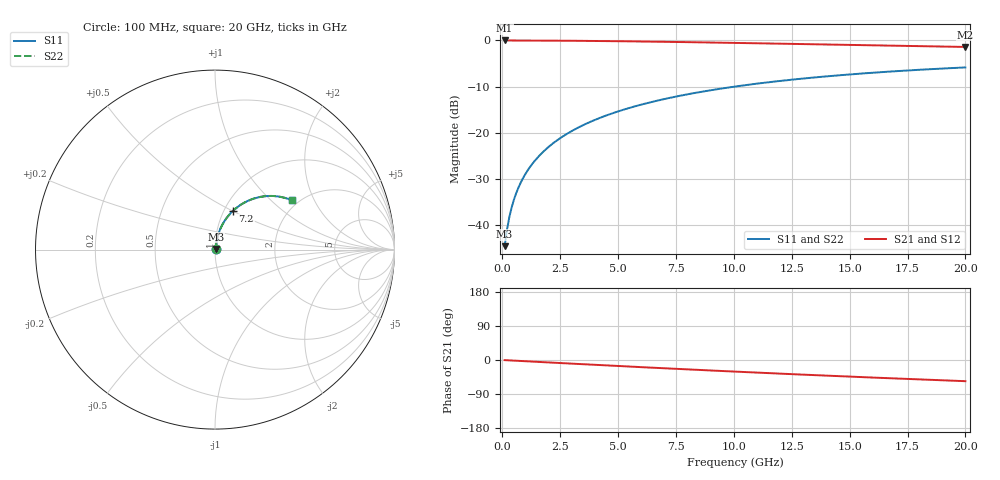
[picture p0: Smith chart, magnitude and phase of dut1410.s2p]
! Touchstone file exported from HFSS 2026.1.0
!  File:  C:/ffzhzh/LocalFiles/Ansys_Project_Files/temp_train_BSMRDL_1410_1783180035_51560.aedt
!  Generated:  11:48:42 PM Jul  4, 2026
!  Design:  BSMRDL
!  Project:  temp_train_BSMRDL_1410_1783180035_51560
! Variables:
!  h_bsmrdl = 3.73um
!  h_ox = 20um
!  h_rdl = 5um
!  h_sub = 80um
!  h_tmrdl = 5um
!  h_tsv = 80um
!  h_via = 3um
!  l_bsmrdl = 847.64um
!  l_sub = 1247.64um
!  l_tmrdl = 200um
!  m_sub = 200um
!  pitch = 47.21um
!  r_tsv = 6um
!  s_tmrdl = 10um
!  w_bsmrdl = 17.86um
!  w_sub = 500um
!  w_tmrdl = 12um
!  x_tsv_center1 = 206um
!  x_tsv_center2 = 1071.5um
!  x_tsv_center3 = 1283.5um
!  x_tsv_center4 = 2149um
!  x_tsv_center5 = 2361um
!  x_tsv_center6 = 3226.5um
# GHz S MA R 50.000000
! Terminal data exported
! Port[1] = BSM_RDL1_1_T1
! Port[2] = BSM_RDL1_1_T2
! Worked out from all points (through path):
!   200 points, 100 MHz to 20 GHz, reference 50 ohm
!   highest |S21| = -0.04 dB at 100 MHz (marker M1); lowest = -1.4 dB at 20 GHz (marker M2)
!   group delay of S21, straight-line fit = 7.76 ps
!   lowest |S11| = -44.5 dB at 100 MHz (marker M3), VSWR 1.01, Z = 50.5 + j0.379 ohm
!   |S11| at or under -10 dB: start of sweep to 10.05 GHz
!   |S22| runs from -44.5 to -5.9 dB; largest |S21 - S12| = 7e-15
!   S11 on the Smith chart (normalised r, x): 100 MHz: 1.01, +0.01; 7.2 GHz: 1.10, +0.50; 20 GHz: 1.84, +1.37
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0.1  0.005964 39.0  0.9954 -0.3  0.9954 -0.3  0.005964 39.0
! Gamma 0 0 0 0
! Port Impedance 50 0 50 0
0.2  0.008878 56.8  0.9952 -0.7  0.9952 -0.7  0.008878 56.8
0.3  0.01215 65.0  0.995 -1.0  0.995 -1.0  0.01215 65.0
0.4  0.01551 69.4  0.9948 -1.3  0.9948 -1.3  0.01551 69.4
0.5  0.01889 72.2  0.9946 -1.6  0.9946 -1.6  0.01889 72.2
0.6  0.02228 74.1  0.9944 -2.0  0.9944 -2.0  0.02228 74.1
0.8  0.02911 76.5  0.9941 -2.6  0.9941 -2.6  0.02911 76.5
1.1  0.03943 78.1  0.9935 -3.6  0.9935 -3.6  0.03943 78.1
1.5  0.05323 78.8  0.9927 -4.8  0.9927 -4.8  0.05323 78.8
1.8  0.06358 78.8  0.9919 -5.8  0.9919 -5.8  0.06358 78.8
2.1  0.07391 78.4  0.9911 -6.7  0.9911 -6.7  0.07391 78.4
2.7  0.09442 77.3  0.989 -8.6  0.989 -8.6  0.09442 77.3
3.5  0.1214 75.4  0.9855 -11.2  0.9855 -11.2  0.1214 75.4
4.2  0.1445 73.6  0.9818 -13.4  0.9818 -13.4  0.1445 73.6
5  0.1704 71.4  0.977 -15.8  0.977 -15.8  0.1704 71.4
6.8  0.2259 66.2  0.9643 -21.3  0.9643 -21.3  0.2259 66.2
7.2  0.2378 65.1  0.9612 -22.4  0.9612 -22.4  0.2378 65.1
8.6  0.2776 61.2  0.9496 -26.5  0.9496 -26.5  0.2776 61.2
10.1  0.3174 57.1  0.9363 -30.8  0.9363 -30.8  0.3175 57.1
13.4  0.3949 48.4  0.9056 -39.7  0.9056 -39.7  0.3949 48.4
16.7  0.4584 40.3  0.875 -48.1  0.875 -48.1  0.4584 40.3
20  0.5088 32.6  0.8469 -55.9  0.8469 -55.9  0.5089 32.6
